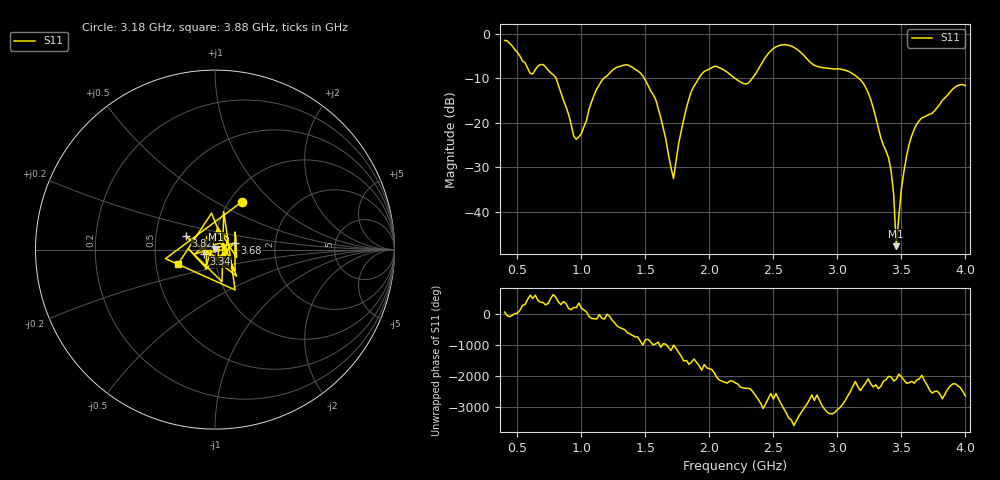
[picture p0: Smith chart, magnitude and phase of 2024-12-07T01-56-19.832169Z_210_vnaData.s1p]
!Created with skrf (http://scikit-rf.org).
# Hz S RI R 50.0
!freq ReS11 ImS11
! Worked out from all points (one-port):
!   181 points, 400 MHz to 4 GHz, reference 50 ohm
!   lowest |S11| = -47.7 dB at 3.46 GHz (marker M1), VSWR 1.01, Z = 50.2 + j0.368 ohm
!   |S11| at or under -10 dB: 802.1 MHz to 1.175 GHz (372.6 MHz wide, 37.7 % of centre); 1.491 GHz to 1.917 GHz (426.5 MHz wide, 25 % of centre); 3.167 GHz to end of sweep (the widest 3 of 4)
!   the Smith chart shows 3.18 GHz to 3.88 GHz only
!   S11 on the Smith chart (normalised r, x): 3.18 GHz: 1.14, +0.67; 3.34 GHz: 0.88, -0.04; 3.68 GHz: 1.24, +0.09; 3.82 GHz: 0.71, +0.11; 3.88 GHz: 0.65, -0.11
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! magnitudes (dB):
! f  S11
! 400 MHz  -1.5
! 600 MHz  -8.9
! 720 MHz  -7.4
! 860 MHz  -14.9
! 960 MHz  -23.7
! 1.14 GHz  -11.4
! 1.3 GHz  -7.3
! 1.46 GHz  -8.8
! 1.58 GHz  -14.7
! 1.72 GHz  -32.5
! 1.76 GHz  -24.7
! 1.86 GHz  -12.9
! 1.94 GHz  -9.0
! 2.2 GHz  -10.0
! 2.3 GHz  -11.2
! 2.66 GHz  -3.0
! 3.1 GHz  -8.6
! 3.18 GHz  -10.3
! 3.34 GHz  -23.4
! 3.42 GHz  -31.0
! 3.44 GHz  -36.2
! 3.46 GHz  -47.7
! 3.5 GHz  -34.9
! 3.56 GHz  -24.9
! 3.68 GHz  -18.7
! 3.82 GHz  -15.0
! 3.88 GHz  -13.1
! 4 GHz  -11.6
